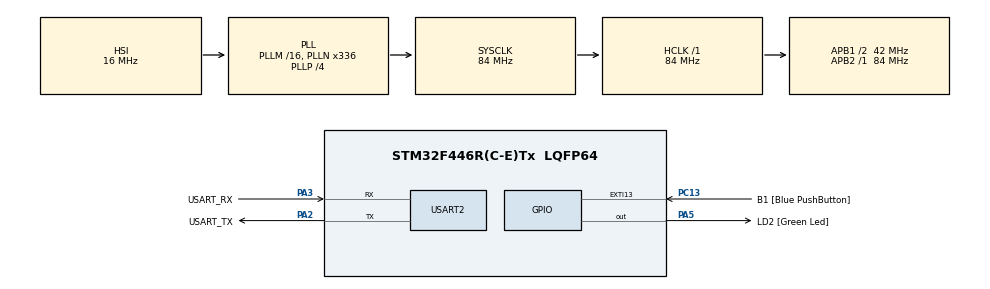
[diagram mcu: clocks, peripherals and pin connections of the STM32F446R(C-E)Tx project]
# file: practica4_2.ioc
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Mcu.Family=STM32F4
Mcu.Name=STM32F446R(C-E)Tx
Mcu.Package=LQFP64
NVIC.PriorityGroup=NVIC_PRIORITYGROUP_0
PA13.GPIO_Label=TMS
PA13.Mode=Serial_Wire
PA13.Signal=SYS_JTMS-SWDIO
PA14.GPIO_Label=TCK
PA14.Mode=Serial_Wire
PA14.Signal=SYS_JTCK-SWCLK
PA2.GPIO_Label=USART_TX
PA2.Mode=Asynchronous
PA2.Signal=USART2_TX
PA3.GPIO_Label=USART_RX
PA3.Mode=Asynchronous
PA3.Signal=USART2_RX
PA5.GPIO_Label=LD2 [Green Led]
PA5.Signal=GPIO_Output
PB3.GPIO_Label=SWO
PB3.Signal=SYS_JTDO-SWO
PC13.GPIO_Label=B1 [Blue PushButton]
PC13.GPIO_ModeDefaultEXTI=GPIO_MODE_IT_FALLING
PC13.Signal=GPXTI13
PC14-OSC32_IN.Mode=LSE-External-Oscillator
PC14-OSC32_IN.Signal=RCC_OSC32_IN
PC15-OSC32_OUT.Mode=LSE-External-Oscillator
PC15-OSC32_OUT.Signal=RCC_OSC32_OUT
PH0-OSC_IN.Mode=HSE-External-Oscillator
PH0-OSC_IN.Signal=RCC_OSC_IN
PH1-OSC_OUT.Mode=HSE-External-Oscillator
PH1-OSC_OUT.Signal=RCC_OSC_OUT
ProjectManager.HeapSize=0x200
ProjectManager.StackSize=0x400
ProjectManager.TargetToolchain=STM32CubeIDE
RCC.48MHZClocksFreq_Value=84000000
RCC.AHBFreq_Value=84000000
RCC.APB1CLKDivider=RCC_HCLK_DIV2
RCC.APB1Freq_Value=42000000
RCC.APB1TimFreq_Value=84000000
RCC.APB2Freq_Value=84000000
RCC.APB2TimFreq_Value=84000000
RCC.CortexFreq_Value=84000000
RCC.FLatency-AdvancedSettings=FLASH_LATENCY_2
RCC.HCLKFreq_Value=84000000
RCC.HSE_VALUE=8000000
RCC.HSI_VALUE=16000000
RCC.PLLN=336
RCC.PLLP=RCC_PLLP_DIV4
RCC.SYSCLKFreq_VALUE=84000000
RCC.SYSCLKSource=RCC_SYSCLKSOURCE_PLLCLK
RCC.USBFreq_Value=168000000
RCC.VCOOutputFreq_Value=336000000
USART2.VirtualMode=VM_ASYNC
board=NUCLEO-F446RE

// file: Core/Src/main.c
/* USER CODE BEGIN Header */
/**
  ******************************************************************************
  * @file           : main.c
  * @brief          : Main program body
  ******************************************************************************
  * @attention
  *
  * Copyright (c) 2025 STMicroelectronics.
  * All rights reserved.
  *
  * This software is licensed under terms that can be found in the LICENSE file
  * in the root directory of this software component.
  * If no LICENSE file comes with this software, it is provided AS-IS.
  *
  ******************************************************************************
  */
/* USER CODE END Header */
#include "main.h"

/* USER CODE BEGIN Includes */
#include "API_delay.h"
#include "API_debounce.h"

/* USER CODE END Includes */

UART_HandleTypeDef huart2;

/* USER CODE BEGIN PV */
static const uint32_t TIEMPOS[] = {100, 500};
static const uint8_t CANT_TIEMPOS = sizeof(TIEMPOS) / sizeof(TIEMPOS[0]);

/* USER CODE END PV */

void SystemClock_Config(void);
static void MX_GPIO_Init(void);
static void MX_USART2_UART_Init(void);
/* USER CODE BEGIN PFP */
static void ledToggle();

/* USER CODE END PFP */

/* USER CODE BEGIN 0 */
/*
 * @brief cambia el estado del led respecto al anterior
 *
 */
static void ledToggle(){
  HAL_GPIO_TogglePin(LD2_GPIO_Port, LD2_Pin);
}

/* USER CODE END 0 */

int main(void)
{

  /* MCU Configuration--------------------------------------------------------*/

  /* Reset of all peripherals, Initializes the Flash interface and the Systick. */
  HAL_Init();

  /* USER CODE BEGIN Init */
  debounceFSM_init();
  delay_t ledDelay;
  uint8_t indice = 0;
  delayInit(&ledDelay, TIEMPOS[indice]);

  /* USER CODE END Init */

  /* Configure the system clock */
  SystemClock_Config();

  /* Initialize all configured peripherals */
  MX_GPIO_Init();
  MX_USART2_UART_Init();

  /* Infinite loop */
  /* USER CODE BEGIN WHILE */
  while (1)
  {
	  debounceFSM_update();

	  if (readKey()){
		indice++;
		if (indice >= CANT_TIEMPOS){
		  indice = 0;
		}

		if (!delayIsRunning(&ledDelay)){
		  delayWrite(&ledDelay, TIEMPOS[indice]);
		}

	  }

	  if (delayRead(&ledDelay)){
		ledToggle();
		if (!delayIsRunning(&ledDelay)){
		  delayWrite(&ledDelay, TIEMPOS[indice]);
		}

	  }
    /* USER CODE END WHILE */

  }
}

void SystemClock_Config(void)
{
  RCC_OscInitTypeDef RCC_OscInitStruct = {0};
  RCC_ClkInitTypeDef RCC_ClkInitStruct = {0};

  /** Configure the main internal regulator output voltage
  */
  __HAL_RCC_PWR_CLK_ENABLE();
  __HAL_PWR_VOLTAGESCALING_CONFIG(PWR_REGULATOR_VOLTAGE_SCALE3);

  /** Initializes the RCC Oscillators according to the specified parameters
  * in the RCC_OscInitTypeDef structure.
  */
  RCC_OscInitStruct.OscillatorType = RCC_OSCILLATORTYPE_HSI;
  RCC_OscInitStruct.HSIState = RCC_HSI_ON;
  RCC_OscInitStruct.HSICalibrationValue = RCC_HSICALIBRATION_DEFAULT;
  RCC_OscInitStruct.PLL.PLLState = RCC_PLL_ON;
  RCC_OscInitStruct.PLL.PLLSource = RCC_PLLSOURCE_HSI;
  RCC_OscInitStruct.PLL.PLLM = 16;
  RCC_OscInitStruct.PLL.PLLN = 336;
  RCC_OscInitStruct.PLL.PLLP = RCC_PLLP_DIV4;
  RCC_OscInitStruct.PLL.PLLQ = 2;
  RCC_OscInitStruct.PLL.PLLR = 2;
  if (HAL_RCC_OscConfig(&RCC_OscInitStruct) != HAL_OK)
  {
    Error_Handler();
  }

  /** Initializes the CPU, AHB and APB buses clocks
  */
  RCC_ClkInitStruct.ClockType = RCC_CLOCKTYPE_HCLK|RCC_CLOCKTYPE_SYSCLK
                              |RCC_CLOCKTYPE_PCLK1|RCC_CLOCKTYPE_PCLK2;
  RCC_ClkInitStruct.SYSCLKSource = RCC_SYSCLKSOURCE_PLLCLK;
  RCC_ClkInitStruct.AHBCLKDivider = RCC_SYSCLK_DIV1;
  RCC_ClkInitStruct.APB1CLKDivider = RCC_HCLK_DIV2;
  RCC_ClkInitStruct.APB2CLKDivider = RCC_HCLK_DIV1;

  if (HAL_RCC_ClockConfig(&RCC_ClkInitStruct, FLASH_LATENCY_2) != HAL_OK)
  {
    Error_Handler();
  }
}

static void MX_USART2_UART_Init(void)
{

  huart2.Instance = USART2;
  huart2.Init.BaudRate = 115200;
  huart2.Init.WordLength = UART_WORDLENGTH_8B;
  huart2.Init.StopBits = UART_STOPBITS_1;
  huart2.Init.Parity = UART_PARITY_NONE;
  huart2.Init.Mode = UART_MODE_TX_RX;
  huart2.Init.HwFlowCtl = UART_HWCONTROL_NONE;
  huart2.Init.OverSampling = UART_OVERSAMPLING_16;
  if (HAL_UART_Init(&huart2) != HAL_OK)
  {
    Error_Handler();
  }

}

static void MX_GPIO_Init(void)
{
  GPIO_InitTypeDef GPIO_InitStruct = {0};

  /* GPIO Ports Clock Enable */
  __HAL_RCC_GPIOC_CLK_ENABLE();
  __HAL_RCC_GPIOH_CLK_ENABLE();
  __HAL_RCC_GPIOA_CLK_ENABLE();
  __HAL_RCC_GPIOB_CLK_ENABLE();

  /*Configure GPIO pin Output Level */
  HAL_GPIO_WritePin(LD2_GPIO_Port, LD2_Pin, GPIO_PIN_RESET);

  /*Configure GPIO pin : B1_Pin */
  GPIO_InitStruct.Pin = B1_Pin;
  GPIO_InitStruct.Mode = GPIO_MODE_IT_FALLING;
  GPIO_InitStruct.Pull = GPIO_NOPULL;
  HAL_GPIO_Init(B1_GPIO_Port, &GPIO_InitStruct);

  /*Configure GPIO pin : LD2_Pin */
  GPIO_InitStruct.Pin = LD2_Pin;
  GPIO_InitStruct.Mode = GPIO_MODE_OUTPUT_PP;
  GPIO_InitStruct.Pull = GPIO_NOPULL;
  GPIO_InitStruct.Speed = GPIO_SPEED_FREQ_LOW;
  HAL_GPIO_Init(LD2_GPIO_Port, &GPIO_InitStruct);

}

void Error_Handler(void)
{
  __disable_irq();
  while (1)
  {
  }
}
